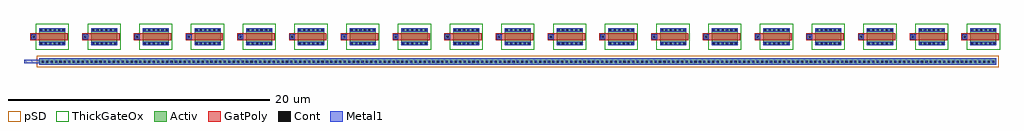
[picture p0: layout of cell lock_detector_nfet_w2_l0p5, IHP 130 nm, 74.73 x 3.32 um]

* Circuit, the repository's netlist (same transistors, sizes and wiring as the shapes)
* extracted by klt extract --deck sg13cmos5l

* cell lock_detector_nfet_w2_l0p5
* pin vsubs
.SUBCKT lock_detector_nfet_w2_l0p5 vsubs
* device instance $1 r0 *1 2.3,3.11 nfet
X$1 \$40 \$2 \$3 vsubs sg13_hv_nmos L=0.5U W=2U AS=0.8P AD=0.8P PS=4.8U PD=4.8U
* device instance $2 r0 *1 6.26,3.11 nfet
X$2 \$41 \$4 \$5 vsubs sg13_hv_nmos L=0.5U W=2U AS=0.8P AD=0.8P PS=4.8U PD=4.8U
* device instance $3 r0 *1 10.22,3.11 nfet
X$3 \$42 \$6 \$7 vsubs sg13_hv_nmos L=0.5U W=2U AS=0.8P AD=0.8P PS=4.8U PD=4.8U
* device instance $4 r0 *1 14.18,3.11 nfet
X$4 \$43 \$8 \$9 vsubs sg13_hv_nmos L=0.5U W=2U AS=0.8P AD=0.8P PS=4.8U PD=4.8U
* device instance $5 r0 *1 18.14,3.11 nfet
X$5 \$44 \$10 \$11 vsubs sg13_hv_nmos L=0.5U W=2U AS=0.8P AD=0.8P PS=4.8U
+ PD=4.8U
* device instance $6 r0 *1 22.1,3.11 nfet
X$6 \$45 \$12 \$13 vsubs sg13_hv_nmos L=0.5U W=2U AS=0.8P AD=0.8P PS=4.8U
+ PD=4.8U
* device instance $7 r0 *1 26.06,3.11 nfet
X$7 \$46 \$14 \$15 vsubs sg13_hv_nmos L=0.5U W=2U AS=0.8P AD=0.8P PS=4.8U
+ PD=4.8U
* device instance $8 r0 *1 30.02,3.11 nfet
X$8 \$47 \$16 \$17 vsubs sg13_hv_nmos L=0.5U W=2U AS=0.8P AD=0.8P PS=4.8U
+ PD=4.8U
* device instance $9 r0 *1 33.98,3.11 nfet
X$9 \$48 \$18 \$19 vsubs sg13_hv_nmos L=0.5U W=2U AS=0.8P AD=0.8P PS=4.8U
+ PD=4.8U
* device instance $10 r0 *1 37.94,3.11 nfet
X$10 \$49 \$20 \$21 vsubs sg13_hv_nmos L=0.5U W=2U AS=0.8P AD=0.8P PS=4.8U
+ PD=4.8U
* device instance $11 r0 *1 41.9,3.11 nfet
X$11 \$50 \$22 \$23 vsubs sg13_hv_nmos L=0.5U W=2U AS=0.8P AD=0.8P PS=4.8U
+ PD=4.8U
* device instance $12 r0 *1 45.86,3.11 nfet
X$12 \$51 \$24 \$25 vsubs sg13_hv_nmos L=0.5U W=2U AS=0.8P AD=0.8P PS=4.8U
+ PD=4.8U
* device instance $13 r0 *1 49.82,3.11 nfet
X$13 \$52 \$26 \$27 vsubs sg13_hv_nmos L=0.5U W=2U AS=0.8P AD=0.8P PS=4.8U
+ PD=4.8U
* device instance $14 r0 *1 53.78,3.11 nfet
X$14 \$53 \$28 \$29 vsubs sg13_hv_nmos L=0.5U W=2U AS=0.8P AD=0.8P PS=4.8U
+ PD=4.8U
* device instance $15 r0 *1 57.74,3.11 nfet
X$15 \$54 \$30 \$31 vsubs sg13_hv_nmos L=0.5U W=2U AS=0.8P AD=0.8P PS=4.8U
+ PD=4.8U
* device instance $16 r0 *1 61.7,3.11 nfet
X$16 \$55 \$32 \$33 vsubs sg13_hv_nmos L=0.5U W=2U AS=0.8P AD=0.8P PS=4.8U
+ PD=4.8U
* device instance $17 r0 *1 65.66,3.11 nfet
X$17 \$56 \$34 \$35 vsubs sg13_hv_nmos L=0.5U W=2U AS=0.8P AD=0.8P PS=4.8U
+ PD=4.8U
* device instance $18 r0 *1 69.62,3.11 nfet
X$18 \$57 \$36 \$37 vsubs sg13_hv_nmos L=0.5U W=2U AS=0.8P AD=0.8P PS=4.8U
+ PD=4.8U
* device instance $19 r0 *1 73.58,3.11 nfet
X$19 \$58 \$38 \$39 vsubs sg13_hv_nmos L=0.5U W=2U AS=0.8P AD=0.8P PS=4.8U
+ PD=4.8U
.ENDS lock_detector_nfet_w2_l0p5

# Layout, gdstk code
import gdstk
lib = gdstk.Library(unit=1e-6, precision=1e-09)
def R(c, l, rs):  # rectangles x0, y0, x1, y1
    for r in rs: c.add(gdstk.rectangle(r[:2], r[2:], *l))
def A(c, l, x, y, w, h, nx, ny, dx, dy):  # array of equal rectangles
    R(c, l, [(x+i*dx, y+j*dy, x+i*dx+w, y+j*dy+h) for i in range(nx) for j in range(ny)])
Activ = (1, 0)
GatPoly = (5, 0)
Cont = (6, 0)
Metal1 = (8, 0)
pSD = (14, 0)
ThickGateOx = (44, 0)

lock_detector_nfet_w2_l0 = lib.new_cell('lock_detector_nfet_w2_l0p5')
A(lock_detector_nfet_w2_l0, Activ, 1.3, 2.46, 2, 1.3, 19, 1, 3.96, 0)
R(lock_detector_nfet_w2_l0, Activ, [(1.3,0.96,74.58,1.46)])
A(lock_detector_nfet_w2_l0, GatPoly, 0.62, 2.86, 0.5, 0.5, 19, 1, 3.96, 0)
A(lock_detector_nfet_w2_l0, GatPoly, 1.12, 2.86, 2.36, 0.5, 19, 1, 3.96, 0)
A(lock_detector_nfet_w2_l0, Cont, 1.48, 1.13, 0.16, 0.16, 215, 1, 0.34, 0)
A(lock_detector_nfet_w2_l0, Cont, 1.37, 2.53, 0.16, 0.16, 6, 2, 0.34, 1)
A(lock_detector_nfet_w2_l0, Cont, 5.33, 2.53, 0.16, 0.16, 6, 2, 0.34, 1)
A(lock_detector_nfet_w2_l0, Cont, 9.29, 2.53, 0.16, 0.16, 6, 2, 0.34, 1)
A(lock_detector_nfet_w2_l0, Cont, 13.25, 2.53, 0.16, 0.16, 6, 2, 0.34, 1)
A(lock_detector_nfet_w2_l0, Cont, 17.21, 2.53, 0.16, 0.16, 6, 2, 0.34, 1)
A(lock_detector_nfet_w2_l0, Cont, 21.17, 2.53, 0.16, 0.16, 6, 2, 0.34, 1)
A(lock_detector_nfet_w2_l0, Cont, 25.13, 2.53, 0.16, 0.16, 6, 2, 0.34, 1)
A(lock_detector_nfet_w2_l0, Cont, 29.09, 2.53, 0.16, 0.16, 6, 2, 0.34, 1)
A(lock_detector_nfet_w2_l0, Cont, 33.05, 2.53, 0.16, 0.16, 6, 2, 0.34, 1)
A(lock_detector_nfet_w2_l0, Cont, 37.01, 2.53, 0.16, 0.16, 6, 2, 0.34, 1)
A(lock_detector_nfet_w2_l0, Cont, 40.97, 2.53, 0.16, 0.16, 6, 2, 0.34, 1)
A(lock_detector_nfet_w2_l0, Cont, 44.93, 2.53, 0.16, 0.16, 6, 2, 0.34, 1)
A(lock_detector_nfet_w2_l0, Cont, 48.89, 2.53, 0.16, 0.16, 6, 2, 0.34, 1)
A(lock_detector_nfet_w2_l0, Cont, 52.85, 2.53, 0.16, 0.16, 6, 2, 0.34, 1)
A(lock_detector_nfet_w2_l0, Cont, 56.81, 2.53, 0.16, 0.16, 6, 2, 0.34, 1)
A(lock_detector_nfet_w2_l0, Cont, 60.77, 2.53, 0.16, 0.16, 6, 2, 0.34, 1)
A(lock_detector_nfet_w2_l0, Cont, 64.73, 2.53, 0.16, 0.16, 6, 2, 0.34, 1)
A(lock_detector_nfet_w2_l0, Cont, 68.69, 2.53, 0.16, 0.16, 6, 2, 0.34, 1)
A(lock_detector_nfet_w2_l0, Cont, 72.65, 2.53, 0.16, 0.16, 6, 2, 0.34, 1)
A(lock_detector_nfet_w2_l0, Cont, 0.79, 3.03, 0.16, 0.16, 19, 1, 3.96, 0)
A(lock_detector_nfet_w2_l0, Metal1, 1.3, 2.46, 2, 0.26, 19, 2, 3.96, 1.04)
A(lock_detector_nfet_w2_l0, Metal1, 0.67, 2.91, 0.4, 0.4, 19, 1, 3.96, 0)
R(lock_detector_nfet_w2_l0, Metal1, [(1.3,0.96,74.58,1.46), (0.125,1.085,1.3,1.335)])
R(lock_detector_nfet_w2_l0, pSD, [(1.12,0.78,74.76,1.64)])
A(lock_detector_nfet_w2_l0, ThickGateOx, 1.03, 2.12, 2.54, 1.98, 19, 1, 3.96, 0)

lib.write_gds('lock_detector_nfet_w2_l0p5.gds')
